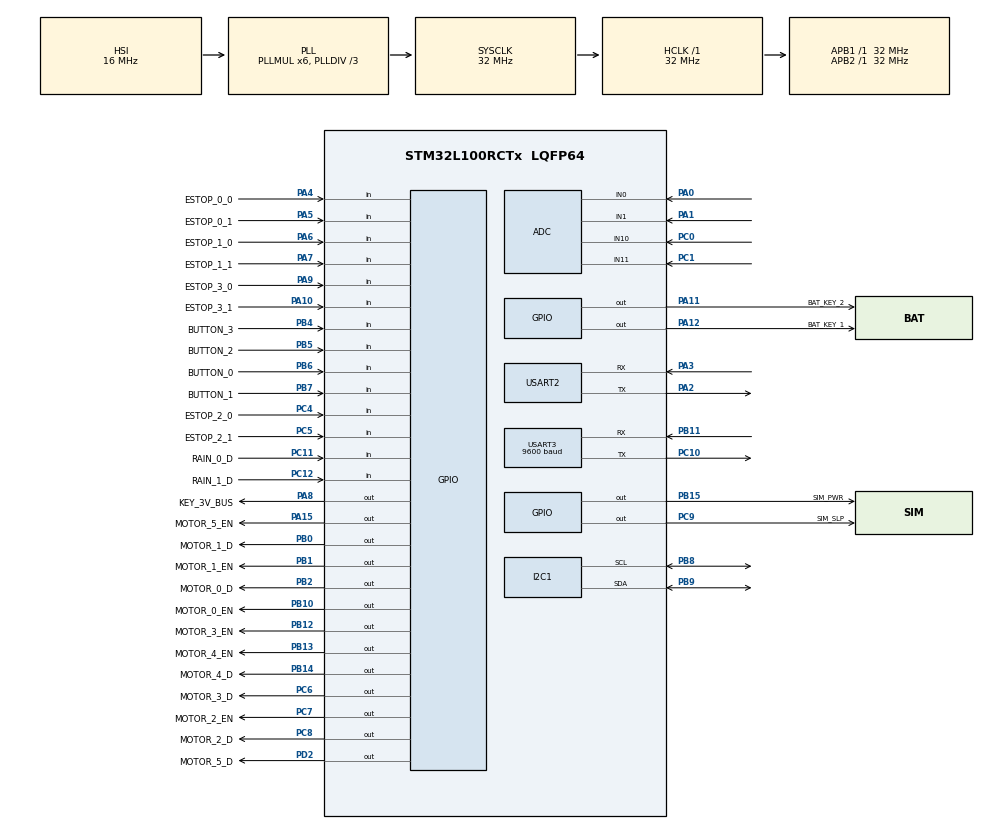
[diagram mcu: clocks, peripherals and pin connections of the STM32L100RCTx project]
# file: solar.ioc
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ADC.Channel-23\#ChannelRegularConversion=ADC_CHANNEL_1
ADC.Channel-24\#ChannelRegularConversion=ADC_CHANNEL_10
ADC.Channel-25\#ChannelRegularConversion=ADC_CHANNEL_11
ADC.Channel-8\#ChannelRegularConversion=ADC_CHANNEL_0
ADC.ClockPrescaler=ADC_CLOCK_ASYNC_DIV1
ADC.ContinuousConvMode=ENABLE
ADC.DMAContinuousRequests=ENABLE
ADC.DataAlign=ADC_DATAALIGN_RIGHT
ADC.DiscontinuousConvMode=DISABLE
ADC.EOCSelection=ADC_EOC_SINGLE_CONV
ADC.EnableAnalogWatchDog=false
ADC.ExternalTrigConv=ADC_SOFTWARE_START
ADC.InjNumberOfConversion=0
ADC.NbrOfConversion=4
ADC.NbrOfConversionFlag=1
ADC.Rank-23\#ChannelRegularConversion=2
ADC.Rank-24\#ChannelRegularConversion=3
ADC.Rank-25\#ChannelRegularConversion=4
ADC.Rank-8\#ChannelRegularConversion=1
ADC.SamplingTime-23\#ChannelRegularConversion=ADC_SAMPLETIME_192CYCLES
ADC.SamplingTime-24\#ChannelRegularConversion=ADC_SAMPLETIME_192CYCLES
ADC.SamplingTime-25\#ChannelRegularConversion=ADC_SAMPLETIME_192CYCLES
ADC.SamplingTime-8\#ChannelRegularConversion=ADC_SAMPLETIME_192CYCLES
ADC.ScanConvMode=ADC_SCAN_ENABLE
Dma.ADC.0.Direction=DMA_PERIPH_TO_MEMORY
Dma.ADC.0.Instance=DMA1_Channel1
Dma.ADC.0.MemDataAlignment=DMA_MDATAALIGN_HALFWORD
Dma.ADC.0.MemInc=DMA_MINC_ENABLE
Dma.ADC.0.Mode=DMA_NORMAL
Dma.ADC.0.PeriphDataAlignment=DMA_PDATAALIGN_HALFWORD
Dma.ADC.0.PeriphInc=DMA_PINC_DISABLE
Dma.ADC.0.Priority=DMA_PRIORITY_MEDIUM
Dma.Request0=ADC
I2C1.I2C_Mode=I2C_Fast
Mcu.Family=STM32L1
Mcu.Name=STM32L100RCTx
Mcu.Package=LQFP64
NVIC.DMA1_Channel1_IRQn=true\:0\:0\:false\:false\:true\:false\:true
NVIC.PriorityGroup=NVIC_PRIORITYGROUP_4
NVIC.USART2_IRQn=true\:0\:0\:false\:false\:true\:true\:true
NVIC.USART3_IRQn=true\:0\:0\:false\:false\:true\:true\:true
PA0-WKUP1.Mode=IN0
PA0-WKUP1.Signal=ADC_IN0
PA1.Mode=IN1
PA1.Signal=ADC_IN1
PA10.GPIO_Label=ESTOP_3_1
PA10.Signal=GPIO_Input
PA11.GPIO_Label=BAT_KEY_2
PA11.Signal=GPIO_Output
PA12.GPIO_Label=BAT_KEY_1
PA12.Signal=GPIO_Output
PA13.GPIO_Label=SWDIO
PA13.Mode=Serial_Wire
PA13.Signal=SYS_JTMS-SWDIO
PA14.GPIO_Label=SWCLK
PA14.Mode=Serial_Wire
PA14.Signal=SYS_JTCK-SWCLK
PA15.GPIO_Label=MOTOR_5_EN
PA15.Signal=GPIO_Output
PA2.Mode=Asynchronous
PA2.Signal=USART2_TX
PA3.Mode=Asynchronous
PA3.Signal=USART2_RX
PA4.GPIO_Label=ESTOP_0_0
PA4.Signal=GPIO_Input
PA5.GPIO_Label=ESTOP_0_1
PA5.Signal=GPIO_Input
PA6.GPIO_Label=ESTOP_1_0
PA6.Signal=GPIO_Input
PA7.GPIO_Label=ESTOP_1_1
PA7.Signal=GPIO_Input
PA8.GPIO_Label=KEY_3V_BUS
PA8.Signal=GPIO_Output
PA9.GPIO_Label=ESTOP_3_0
PA9.Signal=GPIO_Input
PB0.GPIO_Label=MOTOR_1_D
PB0.GPIO_Speed=GPIO_SPEED_FREQ_LOW
PB0.Signal=GPIO_Output
PB1.GPIO_Label=MOTOR_1_EN
PB1.GPIO_Speed=GPIO_SPEED_FREQ_LOW
PB1.Signal=GPIO_Output
PB10.GPIO_Label=MOTOR_0_EN
PB10.GPIO_PuPd=GPIO_PULLDOWN
PB10.Signal=GPIO_Output
PB11.Mode=Asynchronous
PB11.Signal=USART3_RX
PB12.GPIO_Label=MOTOR_3_EN
PB12.Signal=GPIO_Output
PB13.GPIO_Label=MOTOR_4_EN
PB13.Signal=GPIO_Output
PB14.GPIO_Label=MOTOR_4_D
PB14.Signal=GPIO_Output
PB15.GPIO_Label=SIM_PWR
PB15.Signal=GPIO_Output
PB2.GPIO_Label=MOTOR_0_D
PB2.GPIO_ModeDefaultOutputPP=GPIO_MODE_OUTPUT_PP
PB2.GPIO_PuPd=GPIO_PULLDOWN
PB2.Signal=GPIO_Output
PB3.GPIO_Label=SWO
PB3.Signal=SYS_JTDO-TRACESWO
PB4.GPIO_Label=BUTTON_3
PB4.Signal=GPIO_Input
PB5.GPIO_Label=BUTTON_2
PB5.Signal=GPIO_Input
PB6.GPIO_Label=BUTTON_0
PB6.Signal=GPIO_Input
PB7.GPIO_Label=BUTTON_1
PB7.Signal=GPIO_Input
PB8.GPIO_Speed=GPIO_SPEED_FREQ_VERY_HIGH
PB8.Mode=I2C
PB8.Signal=I2C1_SCL
PB9.Mode=I2C
PB9.Signal=I2C1_SDA
PC0.Mode=IN10
PC0.Signal=ADC_IN10
PC1.Mode=IN11
PC1.Signal=ADC_IN11
PC10.Mode=Asynchronous
PC10.Signal=USART3_TX
PC11.GPIO_Label=RAIN_0_D
PC11.Signal=GPIO_Input
PC12.GPIO_Label=RAIN_1_D
PC12.Signal=GPIO_Input
PC14-OSC32_IN.GPIO_Label=PC14-OSC32_IN
PC14-OSC32_IN.Signal=RCC_OSC32_IN
PC15-OSC32_OUT.GPIO_Label=PC15-OSC32_OUT
PC15-OSC32_OUT.Signal=RCC_OSC32_OUT
PC4.GPIO_Label=ESTOP_2_0
PC4.Signal=GPIO_Input
PC5.GPIO_Label=ESTOP_2_1
PC5.Signal=GPIO_Input
PC6.GPIO_Label=MOTOR_3_D
PC6.Signal=GPIO_Output
PC7.GPIO_Label=MOTOR_2_EN
PC7.Signal=GPIO_Output
PC8.GPIO_Label=MOTOR_2_D
PC8.Signal=GPIO_Output
PC9.GPIO_Label=SIM_SLP
PC9.Signal=GPIO_Output
PD2.GPIO_Label=MOTOR_5_D
PD2.Signal=GPIO_Output
PH0-OSC_IN.GPIO_Label=PH0-OSC_IN
PH0-OSC_IN.Mode=HSE-External-Clock-Source
PH0-OSC_IN.Signal=RCC_OSC_IN
PH1-OSC_OUT.GPIO_Label=PH1-OSC_OUT
PH1-OSC_OUT.Signal=RCC_OSC_OUT
ProjectManager.HeapSize=0x200
ProjectManager.StackSize=0x400
ProjectManager.TargetToolchain=TrueSTUDIO
RCC.48MHZClocksFreq_Value=48000000
RCC.AHBFreq_Value=32000000
RCC.APB1Freq_Value=32000000
RCC.APB1TimFreq_Value=32000000
RCC.APB2Freq_Value=32000000
RCC.APB2TimFreq_Value=32000000
RCC.HCLKFreq_Value=32000000
RCC.HSE_VALUE=8000000
RCC.HSI_VALUE=16000000
RCC.LSE_VALUE=32768
RCC.MSI_VALUE=2097000
RCC.PLLDIV=RCC_PLL_DIV3
RCC.PLLMUL=RCC_PLL_MUL6
RCC.RCC_RTC_Clock_Source_FROM_HSE=RCC_RTCCLKSOURCE_HSE_DIV8
RCC.RTCClockSelection=RCC_RTCCLKSOURCE_LSI
RCC.RTCClockSelectionVirtual=RCC_RTCCLKSOURCE_LSE
RCC.SYSCLKFreq_VALUE=32000000
RCC.SYSCLKSource=RCC_SYSCLKSOURCE_PLLCLK
RCC.USBOutput=48000000
RCC.VCOOutputFreq_Value=96000000
RTC.Date=26
RTC.Format=RTC_FORMAT_BCD
RTC.Hours=16
RTC.Minutes=56
RTC.Month=RTC_MONTH_JUNE
RTC.WeekDay=RTC_WEEKDAY_WEDNESDAY
RTC.Year=19
USART2.VirtualMode=VM_ASYNC
USART2.WordLength=WORDLENGTH_8B
USART3.BaudRate=9600
USART3.VirtualMode=VM_ASYNC
VP_RTC_VS_RTC_Activate.Mode=RTC_Enabled
VP_RTC_VS_RTC_Calendar.Mode=RTC_Calendar
board=32L100CDISCOVERY

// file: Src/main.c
/* USER CODE BEGIN Header */
/**
  ******************************************************************************
  * @file           : main.c
  * @brief          : Main program body
  ******************************************************************************
  * @attention
  *
  * <h2><center>&copy; Copyright (c) 2019 STMicroelectronics.
  * All rights reserved.</center></h2>
  *
  * This software component is licensed by ST under BSD 3-Clause license,
  * the "License"; You may not use this file except in compliance with the
  * License. You may obtain a copy of the License at:
  *                        opensource.org/licenses/BSD-3-Clause
  *
  ******************************************************************************
  */
/* USER CODE END Header */

#include "main.h"
#include "adc.h"
#include "dma.h"
#include "i2c.h"
#include "rtc.h"
#include "usart.h"
#include "gpio.h"

/* USER CODE BEGIN Includes */

#include <string.h>
#include <stdio.h>
#include <stdlib.h>

#include <math.h>

#include "sim7020.h"
#include "bh1750.h"
#include "filter_sred.h"
#include "troykaI2CHub.h"

/* USER CODE END Includes */

/* USER CODE BEGIN PTD */

typedef enum {
	open,
	opened,
	close,
	closed,
	still
} operateCmd;

typedef enum {
	top,
	bottom,
	middle
} mechState;

typedef enum {
	cw,
	ccw,
	stp
} motorCmd;

typedef enum {
	mech_wakeup_cmd,
	mech_sleep_cmd,
	mech_still,
	mech_suntrack_cmd,
	mech_suntrack,
	mech_wakeup,
	mech_sleep,
} relictState;

/* USER CODE END PTD */

/* USER CODE BEGIN PD */

#define VREF 3.20f

#define SUN_ERROR_VERT 10
#define SUN_ERROR_HORZ 10

/* USER CODE END PD */

/* USER CODE BEGIN PV */

uint8_t rx_data[2];
uint8_t rx_buffer[rx_buffer_size];
char buffer[rx_buffer_size];

uint8_t transfer;
uint8_t rx_flag = 0;
uint8_t ok_flag;

_Bool endstop00State;
_Bool endstop01State;
_Bool endstop10State;
_Bool endstop11State;
_Bool endstop20State;
_Bool endstop21State;
_Bool endstop30State;
_Bool endstop31State;

_Bool batKey1State;
_Bool batKey2State;

_Bool chrKey1State;
_Bool chrKey2State;

_Bool key3VBusState;

_Bool dvertCorrect;
_Bool dhorzCorrect;
_Bool refreshState;

_Bool mqttReportState;

_Bool rainSensor0Dv;
_Bool rainSensor1Dv;
double rainSensor0Av;
double rainSensor1Av;

operateCmd farm0 = still;
operateCmd farm1 = still;
operateCmd lift = still;

motorCmd motor0Cmd = stp;
motorCmd motor1Cmd = stp;
motorCmd motor5Cmd = stp;
motorCmd motor2Cmd = stp;
motorCmd motor3Cmd = stp;
motorCmd motor4Cmd = stp;

mechState farm0State = middle;
mechState farm1State = middle;
mechState lift0State = middle;

relictState relict = mech_still;

double vBat0;
double vBat0Percent;
double vDif0;
double vBat1;
double vBat1Percent;
double vDif1;

float ls_tl, ls_tr, ls_bl, ls_br;
int16_t dvert, dhorz;
int16_t avt, avb, avl, avr;

uint16_t ADC_value[4];

uint16_t ADC11, ADC12;
uint16_t ADC13, ADC14;

uint16_t buf_11[COUNT_FILTER], buf_12[COUNT_FILTER];
uint16_t buf_13[COUNT_FILTER], buf_14[COUNT_FILTER];

uint16_t filter_11, filter_12;
uint16_t filter_13, filter_14;

FILTER_REG F11, F12;
FILTER_REG F13, F14;

uint8_t c_hour;
uint8_t c_min;
uint8_t c_sec;

uint8_t c_year;
uint8_t c_month;
uint8_t c_day;
uint8_t c_dow;

/* USER CODE END PV */

void SystemClock_Config(void);
/* USER CODE BEGIN PFP */

void buttonsHandler();

void endstop0Control();
void endstop1Control();
void endstop2Control();

void batKey1Handler();
void batKey2Handler();
void key3VBusHandler();

void mechWakeUpControl();
void mechSleepControl();
void refreshStateControl();
void sunTrackControl();

void endstop00handler();
void endstop01handler();
void endstop10handler();
void endstop11handler();
void endstop20handler();
void endstop21handler();
void endstop30handler();
void endstop31handler();

void motor0Handler();
void motor1Handler();
void motor2Handler();
void motor3Handler();
void motor4Handler();
void motor5Handler();

void leftFarmPositionControl();
void rightFarmPositionControl();

void liftPositionControl();

void calculateVBat0();
void calculateVBat1();

void adcRead();

void readLs();
void resetLs();

void readRain();

void debugPrint0();
void debugPrint1();

void getDateTime();
_Bool RTC_Set(uint8_t year, uint8_t month, uint8_t day,uint8_t hour, uint8_t min, uint8_t sec,uint8_t dow);

void lcdPrintLine0();
void lcdPrintLine1();
void lcdPrintLine2();
void lcdPrintLine3();

void relictMqttReportEstop();
void relictMqttReportMechState();
void relictMqttReportHandler();

uint8_t* createBuffer(size_t size);

/* USER CODE END PFP */

/* USER CODE BEGIN 0 */

uint8_t* createBuffer(size_t size)
{
	uint8_t* _buffer = malloc (sizeof(uint8_t) * size);
	if (_buffer == NULL) exit (1);
	memset(_buffer, 0, sizeof(uint8_t) * size);
	return _buffer;
}

void getDateTime()
{
	RTC_TimeTypeDef time;
	RTC_DateTypeDef date;

	HAL_RTC_GetTime(&hrtc, &time, RTC_FORMAT_BIN);

	c_hour = time.Hours;
	c_min = time.Minutes;
	c_sec = time.Seconds;

	HAL_RTC_GetDate(&hrtc, &date, RTC_FORMAT_BIN);

	c_dow = date.WeekDay;
	c_year = date.Year;
	c_month = date.Month;
	c_day =  date.Date;
}

_Bool RTC_Set(uint8_t year, uint8_t month, uint8_t day, uint8_t hour, uint8_t min, uint8_t sec, uint8_t dow)
{
    HAL_StatusTypeDef res;
    RTC_TimeTypeDef time;
    RTC_DateTypeDef date;

    memset(&time, 0, sizeof(time));
    memset(&date, 0, sizeof(date));

    date.WeekDay = dow;
    date.Year = year;
    date.Month = month;
    date.Date = day;

    res = HAL_RTC_SetDate(&hrtc, &date, RTC_FORMAT_BIN);
    if(res != HAL_OK) {
        return 1;
    }

    time.Hours = hour;
    time.Minutes = min;
    time.Seconds = sec;

    res = HAL_RTC_SetTime(&hrtc, &time, RTC_FORMAT_BIN);
    if(res != HAL_OK) {
        return 1;
    }
    return 0;
}

void batKey1Handler()
{
	if(batKey1State == 1){
		HAL_GPIO_WritePin(GPIOA, BAT_KEY_1_Pin, GPIO_PIN_SET);
	} else if (batKey1State == 0) {
		HAL_GPIO_WritePin(GPIOA, BAT_KEY_1_Pin, GPIO_PIN_RESET);
	}
}

void batKey2Handler()
{
	if(batKey2State == 1){
		HAL_GPIO_WritePin(GPIOA, BAT_KEY_2_Pin, GPIO_PIN_SET);
	} else if (batKey2State == 0) {
		HAL_GPIO_WritePin(GPIOA, BAT_KEY_2_Pin, GPIO_PIN_RESET);
	}
}

void key3VBusHandler()
{
	if(key3VBusState == 1){
		HAL_GPIO_WritePin(GPIOA, KEY_3V_BUS_Pin, GPIO_PIN_SET);
	} else if (key3VBusState == 0) {
		HAL_GPIO_WritePin(GPIOA, KEY_3V_BUS_Pin, GPIO_PIN_RESET);
	}
}

void adcRead()
{
	HAL_ADC_Stop_DMA(&hadc);

	ADC11 = ADC_value[0];
	ADC12 = ADC_value[1];
	ADC13 = ADC_value[2];
	ADC14 = ADC_value[3];

	filter_11 = filter_sred(ADC11, buf_11, &F11);
	filter_12 = filter_sred(ADC12, buf_12, &F12);
	filter_13 = filter_sred(ADC13, buf_13, &F13);
	filter_14 = filter_sred(ADC14, buf_14, &F14);

	HAL_ADC_Start_DMA(&hadc, (uint32_t *)&ADC_value, 4);
}

void readLs()
{
	troykaI2CHub_setBusChannel(0);
	BH1750_ReadLight(&ls_tl);

	troykaI2CHub_setBusChannel(1);
	BH1750_ReadLight(&ls_tr);

	troykaI2CHub_setBusChannel(3);
	BH1750_ReadLight(&ls_bl);

	troykaI2CHub_setBusChannel(4);
	BH1750_ReadLight(&ls_br);

	avt = (ls_tl + ls_tr)/2;
	avb = (ls_bl + ls_br)/2;
	avl = (ls_tl + ls_bl)/2;
	avr = (ls_tr + ls_br)/2;

	dvert = avt - avb;
	dhorz = avl - avr;
}

void readRain()
{
	if (HAL_GPIO_ReadPin (GPIOC, RAIN_0_D_Pin) == GPIO_PIN_RESET) {
		rainSensor0Dv = 1;
	} else if (HAL_GPIO_ReadPin (GPIOC, RAIN_0_D_Pin) == GPIO_PIN_SET) {
		rainSensor0Dv = 0;
	}

	if (HAL_GPIO_ReadPin (GPIOC, RAIN_1_D_Pin) == GPIO_PIN_RESET) {
		rainSensor1Dv = 1;
	} else if (HAL_GPIO_ReadPin (GPIOC, RAIN_1_D_Pin) == GPIO_PIN_SET) {
		rainSensor1Dv = 0;
	}

	rainSensor0Av = VREF / 4095.0 * filter_13;
	rainSensor1Av = VREF / 4095.0 * filter_14;

}

void resetLs()
{
	troykaI2CHub_setBusChannel(0);
	BH1750_Reset();
	troykaI2CHub_setBusChannel(1);
	BH1750_Reset();
	troykaI2CHub_setBusChannel(3);
	BH1750_Reset();
	troykaI2CHub_setBusChannel(4);
	BH1750_Reset();
}

void calculateVBat0()
{
	double r_divider, r1, r2;
	r1 = 1880.0;
	r2 = 2070.0;
	r_divider = r2 / (r1 + r2);

	vBat0 = VREF / 4095.0 * filter_11;
	vBat0 = vBat0 / r_divider;

	if (vBat0 > 3.7f){
		vDif0 = vBat0 - 3.7f;
		vBat0Percent = 100 * vDif0 / 0.5;
	}
}

void calculateVBat1()
{
	double r_divider, r1, r2;
	r1 = 1890.0;
	r2 = 2090.0;
	r_divider = r2 / (r1 + r2);

	vBat1 = VREF / 4095.0 * filter_12;
	vBat1 = vBat1 / r_divider;

	if (vBat1 > 3.7f){
		vDif1 = vBat1 - 3.7f;
		vBat1Percent = 100 * vDif1 / 0.5;
	}
}

void I2C_Scan()
{
    char info[] = "SCANNING I2C BUS\r\n";
    HAL_UART_Transmit(&huart2, (uint8_t*)info, strlen(info), HAL_MAX_DELAY);

    HAL_StatusTypeDef res;
    for(uint16_t i = 0; i < 128; i++) {
        res = HAL_I2C_IsDeviceReady(&hi2c1, i << 1, 1, 10);
        if(res == HAL_OK) {
            char msg[64];
            snprintf(msg, sizeof(msg), "0x%02X ", i);
            HAL_UART_Transmit(&huart2, (uint8_t*)msg, strlen(msg), HAL_MAX_DELAY);
        }
    }
    HAL_UART_Transmit(&huart2, (uint8_t*)"\r\n", 2, HAL_MAX_DELAY);
}

void leftFarmPositionControl()
{
	if (farm0 == open && farm0State == middle) {
		motor0Cmd = cw;
	}
	if (farm0 == open && farm0State == bottom) {
		motor0Cmd = cw;
	}
	if (farm0 == open && farm0State == top) {
		motor0Cmd = stp;
		farm0 = opened;
	}
	if (farm0 == close && farm0State == middle) {
		motor0Cmd = ccw;
	}
	if (farm0 == close && farm0State == top) {
		motor0Cmd = ccw;
	}
	if (farm0 == close && farm0State == bottom) {
		motor0Cmd = stp;
		farm0 = closed;
	}
}

void rightFarmPositionControl()
{
	if (farm1 == open && farm1State == middle) {
		motor1Cmd = cw;
	}
	if (farm1 == open && farm1State == bottom) {
		motor1Cmd = cw;
	}
	if (farm1 == open && farm1State == top) {
		motor1Cmd = stp;
		farm1 = opened;
	}
	if (farm1 == close && farm1State == middle) {
		motor1Cmd = ccw;
	}
	if (farm1 == close && farm1State == top) {
		motor1Cmd = ccw;
	}
	if (farm1 == close && farm1State == bottom) {
		motor1Cmd = stp;
		farm1 = closed;
	}
}

void liftPositionControl()
{
	if (lift == open && lift0State == middle) {
		motor5Cmd = ccw;
	}
	if (lift == open && lift0State == bottom) {
		motor5Cmd = ccw;
	}
	if (lift == open && lift0State == top) {
		motor5Cmd = stp;
		lift = opened;
	}
	if (lift == close && lift0State == middle) {
		motor5Cmd = cw;
	}
	if (lift == close && lift0State == top) {
		motor5Cmd = cw;
	}
	if (lift == close && lift0State == bottom) {
		motor5Cmd = stp;
		lift = closed;
	}
}

//void refreshStateControl()
//{
//	if (endstop30State == 1 && endstop31State == 1){
//		refreshState = 1;
//	} else {
//		refreshState = 0;
//	}
//}

//void sunTrackControl()
//{
//	if(relict == mech_suntrack_cmd){
//		if (refreshState == 0){
//			if (endstop30State == 0){
//				motor3Cmd = ccw;
//				motor4Cmd = ccw;
//			}
//			if (endstop30State == 1){
//				motor3Cmd = stp;
//				motor4Cmd = stp;
//				if(endstop31State == 0){
//					motor2Cmd = cw;
//				}
//				if(endstop31State == 1){
//					motor2Cmd = stp;
//					refreshState = 1;
//				}
//			}
//		}
//
//		if (refreshState == 1){
//			if(dhorz > -SUN_ERROR_HORZ && dhorz < SUN_ERROR_HORZ) {
//				motor2Cmd = stp;
//				dhorzCorrect = 1;
//			}
//			if(dhorz < -SUN_ERROR_HORZ || dhorz > SUN_ERROR_HORZ){
//				dhorzCorrect = 0;
//				motor2Cmd = ccw;
//			}
//			if(dvert > -SUN_ERROR_VERT && dvert < SUN_ERROR_VERT) {
//					motor3Cmd = stp;
//					motor4Cmd = stp;
//					dvertCorrect = 1;
//			}
//			if(dvert < -SUN_ERROR_VERT || dvert > SUN_ERROR_VERT){
//					dvertCorrect = 0;
//					motor3Cmd = cw;
//					motor4Cmd = cw;
//			}
//			if (dvertCorrect == 1 && dhorzCorrect == 1){
//				relict = mech_suntrack;
//			}
//		}
//
//	}
//}
void sunTrackControl() {
  if (relict == mech_suntrack_cmd) {
      if (dhorz > -SUN_ERROR_HORZ && dhorz < SUN_ERROR_HORZ) {
        motor2Cmd = stp;
        dhorzCorrect = 1;
      }
      if (dhorz < -SUN_ERROR_HORZ || dhorz > SUN_ERROR_HORZ) {
        dhorzCorrect = 0;
        if (dhorz > 0) {
          motor2Cmd = cw;
        }
        if (dhorz < 0) {
          motor2Cmd = ccw;
        }
      }

      if (dvert > -SUN_ERROR_VERT && dvert < SUN_ERROR_VERT) {
        motor3Cmd = stp;
        motor4Cmd = stp;
        dvertCorrect = 1;
      }
      if (dvert < -SUN_ERROR_VERT || dvert > SUN_ERROR_VERT) {
        dvertCorrect = 0;
        if (dvert > 0) {
          motor3Cmd = cw;
          motor4Cmd = cw;
        }
        if (dvert < 0) {
          motor3Cmd = ccw;
          motor4Cmd = ccw;
        }
      }
    if (dhorzCorrect == 1 && dvertCorrect == 1){
    	relict = mech_still;
    }
  }
}

void mechWakeUpControl()
{
	if (relict == mech_wakeup_cmd){
		if(lift != opened){
			lift = open;
		}
		if(lift == opened){
			if(farm0 != opened){
				farm0 = open;
			}
			if(farm1 != opened){
				farm1 = open;
			}
			if(farm0 == opened && farm1 == opened){
				relict = mech_wakeup;
			}
		}
	}
}

void mechSleepControl()
{
	if (relict == mech_sleep_cmd){
		if(farm0 != closed ){
			farm0 = close;
		}
		if(farm1 != closed ){
			farm1 = close;
		}
		if(farm0 == closed && farm1 == closed){
			if (endstop30State == 0){
				motor3Cmd = ccw;
				motor4Cmd = ccw;
			}
			if (endstop30State == 1){
				motor3Cmd = stp;
				motor4Cmd = stp;

				if(endstop31State == 0){
					motor2Cmd = cw;
				}
				if(endstop31State == 1){
					motor2Cmd = stp;
					lift = close;
				}
				if(lift == closed){
					relict = mech_sleep;
				}
			}
		}
	}
}

void motor0Handler()
{
	if (motor0Cmd == stp) {
		HAL_GPIO_WritePin(GPIOB, MOTOR_0_EN_Pin, GPIO_PIN_RESET);
	}

	if (motor0Cmd == cw) {
		HAL_GPIO_WritePin(GPIOB, MOTOR_0_EN_Pin,GPIO_PIN_SET);
		HAL_GPIO_WritePin(GPIOB, MOTOR_0_D_Pin, GPIO_PIN_RESET);
	}

	if (motor0Cmd == ccw) {
		HAL_GPIO_WritePin(GPIOB, MOTOR_0_EN_Pin,GPIO_PIN_SET);
		HAL_GPIO_WritePin(GPIOB, MOTOR_0_D_Pin, GPIO_PIN_SET);
	}
}

void motor1Handler()
{
	if (motor1Cmd == stp) {
		HAL_GPIO_WritePin(GPIOB, MOTOR_1_EN_Pin, GPIO_PIN_RESET);
	}

	if (motor1Cmd == cw) {
		HAL_GPIO_WritePin(GPIOB, MOTOR_1_EN_Pin,GPIO_PIN_SET);
		HAL_GPIO_WritePin(GPIOB, MOTOR_1_D_Pin, GPIO_PIN_RESET);
	}

	if (motor1Cmd == ccw) {
		HAL_GPIO_WritePin(GPIOB, MOTOR_1_EN_Pin,GPIO_PIN_SET);
		HAL_GPIO_WritePin(GPIOB, MOTOR_1_D_Pin, GPIO_PIN_SET);
	}
}

void motor2Handler()
{
	if (motor2Cmd == stp) {
		HAL_GPIO_WritePin(GPIOC, MOTOR_2_EN_Pin, GPIO_PIN_RESET);
	}

	if (motor2Cmd == cw) {
		HAL_GPIO_WritePin(GPIOC, MOTOR_2_EN_Pin,GPIO_PIN_SET);
		HAL_GPIO_WritePin(GPIOC, MOTOR_2_D_Pin, GPIO_PIN_RESET);
	}

	if (motor2Cmd == ccw) {
		HAL_GPIO_WritePin(GPIOC, MOTOR_2_EN_Pin,GPIO_PIN_SET);
		HAL_GPIO_WritePin(GPIOC, MOTOR_2_D_Pin, GPIO_PIN_SET);
	}
}

void motor3Handler()
{
	if (motor3Cmd == stp) {
		HAL_GPIO_WritePin(GPIOB, MOTOR_3_EN_Pin, GPIO_PIN_RESET);
	}

	if (motor3Cmd == cw) {
		HAL_GPIO_WritePin(GPIOB, MOTOR_3_EN_Pin,GPIO_PIN_SET);
		HAL_GPIO_WritePin(GPIOC, MOTOR_3_D_Pin, GPIO_PIN_RESET);
	}

	if (motor3Cmd == ccw) {
		HAL_GPIO_WritePin(GPIOB, MOTOR_3_EN_Pin,GPIO_PIN_SET);
		HAL_GPIO_WritePin(GPIOC, MOTOR_3_D_Pin, GPIO_PIN_SET);
	}
}

void motor4Handler()
{
	if (motor4Cmd == stp) {
		HAL_GPIO_WritePin(GPIOB, MOTOR_4_EN_Pin, GPIO_PIN_RESET);
	}

	if (motor4Cmd == cw) {
		HAL_GPIO_WritePin(GPIOB, MOTOR_4_EN_Pin,GPIO_PIN_SET);
		HAL_GPIO_WritePin(GPIOB, MOTOR_4_D_Pin, GPIO_PIN_RESET);
	}

	if (motor4Cmd == ccw) {
		HAL_GPIO_WritePin(GPIOB, MOTOR_4_EN_Pin,GPIO_PIN_SET);
		HAL_GPIO_WritePin(GPIOB, MOTOR_4_D_Pin, GPIO_PIN_SET);
	}
}

void motor5Handler()
{
	if (motor5Cmd == stp) {
		HAL_GPIO_WritePin(GPIOA, MOTOR_5_EN_Pin, GPIO_PIN_RESET);
	}

	if (motor5Cmd == cw) {
		HAL_GPIO_WritePin(GPIOA, MOTOR_5_EN_Pin,GPIO_PIN_SET);
		HAL_GPIO_WritePin(GPIOD, MOTOR_5_D_Pin, GPIO_PIN_RESET);
	}

	if (motor5Cmd == ccw) {
		HAL_GPIO_WritePin(GPIOA, MOTOR_5_EN_Pin,GPIO_PIN_SET);
		HAL_GPIO_WritePin(GPIOD, MOTOR_5_D_Pin, GPIO_PIN_SET);
	}
}

void endstop0Control()
{
	if (endstop00State == 0 && endstop01State == 0) {
		farm0State = middle;
	}
	if (endstop00State == 1 && endstop01State == 0) {
		farm0State = top;
	}
	if (endstop00State == 0 && endstop01State == 1) {
		farm0State = bottom;
	}
}

void endstop1Control()
{
	if (endstop10State == 0 && endstop11State == 0) {
		farm1State = middle;
	}
	if (endstop10State == 1 && endstop11State == 0) {
		farm1State = top;
	}
	if (endstop10State == 0 && endstop11State == 1) {
		farm1State = bottom;
	}
}

void endstop2Control()
{
	if (endstop20State == 0 && endstop21State == 0) {
		lift0State = middle;
	}
	if (endstop20State == 1 && endstop21State == 0) {
		lift0State = top;
	}
	if (endstop20State == 0 && endstop21State == 1) {
		lift0State = bottom;
	}
}

void endstop00Handler()
{
	if (HAL_GPIO_ReadPin (GPIOA, ESTOP_0_0_Pin) == GPIO_PIN_RESET) {
		endstop00State = 0;
	} else if (HAL_GPIO_ReadPin (GPIOA, ESTOP_0_0_Pin) == GPIO_PIN_SET) {
		endstop00State = 1;
	}
}

void endstop01Handler()
{
	if (HAL_GPIO_ReadPin (GPIOA, ESTOP_0_1_Pin) == GPIO_PIN_RESET) {
		endstop01State = 0;
	} else if (HAL_GPIO_ReadPin (GPIOA, ESTOP_0_1_Pin) == GPIO_PIN_SET) {
		endstop01State = 1;
	}
}

void endstop10Handler()
{
	if (HAL_GPIO_ReadPin (GPIOA, ESTOP_1_0_Pin) == GPIO_PIN_RESET) {
		endstop10State = 0;
	} else if (HAL_GPIO_ReadPin (GPIOA, ESTOP_1_0_Pin) == GPIO_PIN_SET) {
		endstop10State = 1;
	}
}

void endstop11Handler()
{
	if (HAL_GPIO_ReadPin (GPIOA, ESTOP_1_1_Pin) == GPIO_PIN_RESET) {
		endstop11State = 0;
	} else if (HAL_GPIO_ReadPin (GPIOA, ESTOP_1_1_Pin) == GPIO_PIN_SET) {
		endstop11State = 1;
	}
}

void endstop20Handler()
{
	if (HAL_GPIO_ReadPin (GPIOC, ESTOP_2_1_Pin) == GPIO_PIN_RESET) {
		endstop20State = 0;
	} else if (HAL_GPIO_ReadPin (GPIOC, ESTOP_2_1_Pin) == GPIO_PIN_SET) {
		endstop20State = 1;
	}
}

void endstop21Handler()
{
	if (HAL_GPIO_ReadPin (GPIOC, ESTOP_2_0_Pin) == GPIO_PIN_RESET) {
		endstop21State = 0;
	} else if (HAL_GPIO_ReadPin (GPIOC, ESTOP_2_0_Pin) == GPIO_PIN_SET) {
		endstop21State = 1;
	}
}

void endstop30Handler()
{
	if (HAL_GPIO_ReadPin (GPIOA, ESTOP_3_0_Pin) == GPIO_PIN_RESET) {
		endstop30State = 0;
	} else if (HAL_GPIO_ReadPin (GPIOA, ESTOP_3_0_Pin) == GPIO_PIN_SET) {
		endstop30State = 1;
	}
}

void endstop31Handler()
{
	if (HAL_GPIO_ReadPin (GPIOA, ESTOP_3_1_Pin) == GPIO_PIN_RESET) {
		endstop31State = 0;
	} else if (HAL_GPIO_ReadPin (GPIOA, ESTOP_3_1_Pin) == GPIO_PIN_SET) {
		endstop31State = 1;
	}
}

void debugPrint0()
{
    char dateMsg[64];
    snprintf(dateMsg, sizeof(dateMsg), "%d.%d.%d-%d", c_day, c_month, c_year, c_dow);
    HAL_UART_Transmit(&huart2, (uint8_t*)dateMsg, strlen(dateMsg),HAL_MAX_DELAY);
    HAL_UART_Transmit(&huart2, (uint8_t*)"-", 1, HAL_MAX_DELAY);

	char timeMsg[64];
	snprintf(timeMsg, sizeof(timeMsg), "%d:%d:%d", c_hour, c_min, c_sec);
	HAL_UART_Transmit(&huart2, (uint8_t*)timeMsg, strlen(timeMsg),HAL_MAX_DELAY);
	HAL_UART_Transmit(&huart2, (uint8_t*)"	", 1, HAL_MAX_DELAY);

	char val0[7];
	int tmpInt01 = vBat0;
	float tmpFrac0 = vBat0 - tmpInt01;
	int tmpInt02 = trunc(tmpFrac0 * 100);
	sprintf (val0,"%01d.%02d", tmpInt01, tmpInt02);

	HAL_UART_Transmit(&huart2, (uint8_t*)val0, strlen(val0), HAL_MAX_DELAY);
	HAL_UART_Transmit(&huart2, (uint8_t*)"	", 1, HAL_MAX_DELAY);

	char val1[7];
	int tmpInt11 = vBat0Percent;
	float tmpFrac1 = vBat0Percent - tmpInt11;
	int tmpInt12 = trunc(tmpFrac1 * 100);
	sprintf (val1,"%02d.%02d", tmpInt11, tmpInt12);

	HAL_UART_Transmit(&huart2, (uint8_t*)val1, strlen(val1), HAL_MAX_DELAY);
	HAL_UART_Transmit(&huart2, (uint8_t*)"	", 1, HAL_MAX_DELAY);

	char val2[7];
	int tmpInt21 = vBat1;
	float tmpFrac2 = vBat1 - tmpInt21;
	int tmpInt22 = trunc(tmpFrac2 * 100);
	sprintf (val2,"%01d.%02d", tmpInt21, tmpInt22);

	HAL_UART_Transmit(&huart2, (uint8_t*)val2, strlen(val2), HAL_MAX_DELAY);
	HAL_UART_Transmit(&huart2, (uint8_t*)"	", 1, HAL_MAX_DELAY);

	char val3[7];
	int tmpInt31 = vBat1Percent;
	float tmpFrac3 = vBat1Percent - tmpInt31;
	int tmpInt32 = trunc(tmpFrac3 * 100);
	sprintf (val3,"%02d.%02d", tmpInt31, tmpInt32);

	HAL_UART_Transmit(&huart2, (uint8_t*)val3, strlen(val3), HAL_MAX_DELAY);
	HAL_UART_Transmit(&huart2, (uint8_t*)"	", 2, HAL_MAX_DELAY);

	char val4[7];
	sprintf (val4, "%d", (int16_t)ls_tl);

	char val5[7];
	sprintf (val5, "%d", (int16_t)ls_tr);

	char val6[7];
	sprintf (val6, "%d", (int16_t)ls_bl);

	char val7[7];
	sprintf (val7, "%d", (int16_t)ls_br);

    HAL_UART_Transmit(&huart2, (uint8_t*)val4, strlen(val4), HAL_MAX_DELAY);
	HAL_UART_Transmit(&huart2, (uint8_t*)"	", 1, HAL_MAX_DELAY);

	HAL_UART_Transmit(&huart2, (uint8_t*)val5, strlen(val5), HAL_MAX_DELAY);
	HAL_UART_Transmit(&huart2, (uint8_t*)"	", 1, HAL_MAX_DELAY);

	HAL_UART_Transmit(&huart2, (uint8_t*)val6, strlen(val6), HAL_MAX_DELAY);
	HAL_UART_Transmit(&huart2, (uint8_t*)"	", 1, HAL_MAX_DELAY);

	HAL_UART_Transmit(&huart2, (uint8_t*)val7, strlen(val7), HAL_MAX_DELAY);
	HAL_UART_Transmit(&huart2, (uint8_t*)"	", 3, HAL_MAX_DELAY);

	char val8[7];
	sprintf (val8, "%d", dvert);
	char val9[7];
	sprintf (val9, "%d", dhorz);

	HAL_UART_Transmit(&huart2, (uint8_t*)val8, strlen(val8), HAL_MAX_DELAY);
	HAL_UART_Transmit(&huart2, (uint8_t*)"	", 1, HAL_MAX_DELAY);

	HAL_UART_Transmit(&huart2, (uint8_t*)val9, strlen(val9), HAL_MAX_DELAY);
	HAL_UART_Transmit(&huart2, (uint8_t*)"	", 1, HAL_MAX_DELAY);

	char val10[7];
	sprintf (val10, "%d", rainSensor0Dv);
	char val11[7];
	int tmpInt111 = rainSensor0Av;
	float tmpFrac11 = rainSensor0Av - tmpInt111;
	int tmpInt112 = trunc(tmpFrac11 * 100);
	sprintf (val11,"%01d.%02d", tmpInt111, tmpInt112);

	char val12[7];
	sprintf (val12, "%d", rainSensor1Dv);

	char val13[7];
	int tmpInt131 = rainSensor1Av;
	float tmpFrac13 = rainSensor1Av - tmpInt131;
	int tmpInt132 = trunc(tmpFrac13 * 100);
	sprintf (val13,"%01d.%02d", tmpInt131, tmpInt132);

	HAL_UART_Transmit(&huart2, (uint8_t*)val10, strlen(val10), HAL_MAX_DELAY);
	HAL_UART_Transmit(&huart2, (uint8_t*)"	", 1, HAL_MAX_DELAY);

	HAL_UART_Transmit(&huart2, (uint8_t*)val11, strlen(val11), HAL_MAX_DELAY);
	HAL_UART_Transmit(&huart2, (uint8_t*)"	", 1, HAL_MAX_DELAY);

	HAL_UART_Transmit(&huart2, (uint8_t*)val12, strlen(val12), HAL_MAX_DELAY);
	HAL_UART_Transmit(&huart2, (uint8_t*)"	", 1, HAL_MAX_DELAY);

	HAL_UART_Transmit(&huart2, (uint8_t*)val13, strlen(val13), HAL_MAX_DELAY);
	HAL_UART_Transmit(&huart2, (uint8_t*)"	", 1, HAL_MAX_DELAY);

    HAL_UART_Transmit(&huart2, (uint8_t*)"\r\n", 2, HAL_MAX_DELAY);
}

void debugPrint1()
{
    char estop[64];
    snprintf(estop, sizeof(estop), "left_farm: %d %d | right_farm: %d %d | lift: %d %d | rotate: %d %d",
    		(uint8_t)endstop00State,
			(uint8_t)endstop01State,
			(uint8_t)endstop10State,
			(uint8_t)endstop11State,
			(uint8_t)endstop20State,
			(uint8_t)endstop21State,
			(uint8_t)endstop30State,
			(uint8_t)endstop31State);
    HAL_UART_Transmit(&huart2, (uint8_t*)estop, strlen(estop), HAL_MAX_DELAY);

    HAL_UART_Transmit(&huart2, (uint8_t*)"	MECH STATE: ", 13, HAL_MAX_DELAY);

    char line0[100];
    char* val0;
	char* val1;
	char* val01;

	if (farm0State == middle) {
		val0 = "middle";
	}
	if (farm0State == top) {
		val0 = "top";
	}
	if (farm0State == bottom) {
		val0 = "bottom";
	}
	if (farm1State == middle) {
		val1 = "middle";
	}
	if (farm1State == top) {
		val1 = "top";
	}
	if (farm1State == bottom) {
		val1 = "bottom";
	}
	if (lift0State == middle) {
		val01 = "middle";
	}
	if (lift0State == top) {
		val01 = "top";
	}
	if (lift0State == bottom) {
		val01 = "bottom";
	}

	char* par0 = "l_f_s: ";
	char* par1 = "r_f_s: ";
	char* par01 = "lft_s: ";

	char* space0 = " ";

	strcpy(line0,par0);
	strcat(line0,val0);
	strcat(line0,space0);

	strcat(line0,par1);
	strcat(line0,val1);
	strcat(line0,space0);

	strcat(line0,par01);
	strcat(line0,val01);
	strcat(line0,space0);

    HAL_UART_Transmit(&huart2, (uint8_t*)line0, strlen(line0),HAL_MAX_DELAY);
    HAL_UART_Transmit(&huart2, (uint8_t*)"	OPERATE STATE: ", 16, HAL_MAX_DELAY);

    char line1[100];
    char* val21;
    char* val22;
	char* val3;
	char* val4;

	if (farm0 == open) {
		val21 = "open";
	}
	if (farm0 == close) {
		val21 = "close";
	}
	if (farm0 == still) {
		val21 = "still";
	}
	if (farm0 == opened) {
		val21 = "opened";
	}
	if (farm0 == closed) {
		val21 = "closed";
	}

	if (farm1 == open) {
		val22 = "open";
	}
	if (farm1 == close) {
		val22 = "close";
	}
	if (farm1 == still) {
		val22 = "still";
	}
	if (farm1 == opened) {
		val22 = "opened";
	}
	if (farm1 == closed) {
		val22 = "closed";
	}

	if (lift == open) {
		val3 = "open";
	}
	if (lift == close) {
		val3 = "close";
	}
	if (lift == still) {
		val3 = "still";
	}
	if (lift == opened) {
		val3 = "opened";
	}
	if (lift == closed) {
		val3 = "closed";
	}

	if (relict == mech_wakeup) {
		val4 = "mech_wakeup";
	}
	if (relict == mech_sleep) {
		val4 = "mech_sleep";
	}
	if (relict == mech_wakeup_cmd) {
		val4 = "mech_wakeup_cmd";
	}
	if (relict == mech_sleep_cmd) {
		val4 = "mech_sleep_cmd";
	}
	if (relict == mech_suntrack) {
		val4 = "mech_suntrack";
	}
	if (relict == mech_suntrack_cmd) {
		val4 = " mech_suntrack_cmd";
	}
	if (relict == mech_still) {
		val4 = "mech_still";
	}

	char* par4 = "| relict: ";
	char* par21 = "| f0: ";
	char* par22 = "| f1: ";
	char* par3 = "|  l_s:  ";

	strcpy(line1,par21);
	strcat(line1,val21);
	strcat(line1,space0);
	strcat(line1,par22);
	strcat(line1,val22);
	strcat(line1,space0);
	strcat(line1,par3);
	strcat(line1,val3);
	strcat(line1,space0);
	strcat(line1,par4);
	strcat(line1,val4);
	strcat(line1,space0);

    HAL_UART_Transmit(&huart2, (uint8_t*)line1, strlen(line1),HAL_MAX_DELAY);
    HAL_UART_Transmit(&huart2, (uint8_t*)"\r\n", 2, HAL_MAX_DELAY);
}

void buttonsHandler()
{
	if (HAL_GPIO_ReadPin (GPIOB, BUTTON_0_Pin) == GPIO_PIN_RESET) {
		relict = mech_suntrack_cmd;
		//motor2Cmd = ccw;
	}
	if (HAL_GPIO_ReadPin (GPIOB, BUTTON_1_Pin) == GPIO_PIN_RESET) {
		motor2Cmd = cw;
		//motor4Cmd = cw;
	}
	if (HAL_GPIO_ReadPin (GPIOB, BUTTON_2_Pin) == GPIO_PIN_RESET) {
		relict = mech_wakeup_cmd;
	}
	if (HAL_GPIO_ReadPin (GPIOB, BUTTON_3_Pin) == GPIO_PIN_RESET) {
		relict = mech_sleep_cmd;
	}
}

void relictMqttReportEstop()
{

	HAL_UART_Transmit(&huart2, (uint8_t*)"REPORT ESTP STATE", 17, HAL_MAX_DELAY);
	HAL_UART_Transmit(&huart2, (uint8_t*)"\r\n", 2, HAL_MAX_DELAY);

	char NBcmqpub_at_msg[8][100];
	char NBcmqpub_val[8][3];

	snprintf(NBcmqpub_val[0], 3, "%d",(uint8_t)endstop10State + 30);
	snprintf(NBcmqpub_val[1], 3, "%d",(uint8_t)endstop11State + 30);
	snprintf(NBcmqpub_val[2], 3, "%d",(uint8_t)endstop00State + 30);
	snprintf(NBcmqpub_val[3], 3, "%d",(uint8_t)endstop01State + 30);
	snprintf(NBcmqpub_val[4], 3, "%d",(uint8_t)endstop20State + 30);
	snprintf(NBcmqpub_val[5], 3, "%d",(uint8_t)endstop21State + 30);
	snprintf(NBcmqpub_val[6], 3, "%d",(uint8_t)endstop30State + 30);
	snprintf(NBcmqpub_val[7], 3, "%d",(uint8_t)endstop31State + 30);

	char* atStringWrapper = "\"";
	char* NBcmqpub_cmd = "AT+CMQPUB=0,";
	char* NBcmqpub_par_0 = ",1,0,0,2,";

	const char* NBcmqpub_feed[8] = {"Gabbapeople/feeds/relict-estop-state.right-farm-0",
	   					  	  	  	"Gabbapeople/feeds/relict-estop-state.right-farm-1",
									"Gabbapeople/feeds/relict-estop-state.left-farm-0",
									"Gabbapeople/feeds/relict-estop-state.left-farm-1",
									"Gabbapeople/feeds/relict-estop-state.lift-0",
									"Gabbapeople/feeds/relict-estop-state.lift-1",
									"Gabbapeople/feeds/relict-estop-state.rotate-0",
									"Gabbapeople/feeds/relict-estop-state.rotate-1"
	    							};

	for(uint8_t i = 0; i < 8; i++){
	    strcpy(NBcmqpub_at_msg[i], NBcmqpub_cmd);
		strcat(NBcmqpub_at_msg[i], atStringWrapper);
		strcat(NBcmqpub_at_msg[i], NBcmqpub_feed[i]);
		strcat(NBcmqpub_at_msg[i], atStringWrapper);
		strcat(NBcmqpub_at_msg[i], NBcmqpub_par_0);
		strcat(NBcmqpub_at_msg[i], atStringWrapper);
		strcat(NBcmqpub_at_msg[i], NBcmqpub_val[i]);
		strcat(NBcmqpub_at_msg[i], atStringWrapper);

	    HAL_UART_Transmit(&huart2, (uint8_t*)NBcmqpub_at_msg[i], strlen(NBcmqpub_at_msg[i]),HAL_MAX_DELAY);
	    HAL_UART_Transmit(&huart2, (uint8_t*)"\r\n", 2, HAL_MAX_DELAY);

		const char* NBcmqpub[] = {
				NBcmqpub_at_msg[i],
				"\0"
		};

		sim7020_NBcmqpub(NBcmqpub);

	}

}

void relictMqttReportMechState()
{

	HAL_UART_Transmit(&huart2, (uint8_t*)"REPORT MECH STATE", 17, HAL_MAX_DELAY);
	HAL_UART_Transmit(&huart2, (uint8_t*)"\r\n", 2, HAL_MAX_DELAY);

	char NBcmqpub_at_msg[3][100];
	char NBcmqpub_val[3][13];

	char* atStringWrapper = "\"";
	char* NBcmqpub_cmd = "AT+CMQPUB=0,";
	char* NBcmqpub_par_0 = ",1,0,0,12,";

	char* str_open = "6f70656e2020";
	char* str_close = "636c6f736520";
	char* str_still = "7374696c6c20";
	char* str_opened = "6f70656e6564";
	char* str_closed = "636c6f736564";

	const char* NBcmqpub_feed[3] = {"Gabbapeople/feeds/relict-mech-state.right-farm-state",
	   					  	  	  	"Gabbapeople/feeds/relict-mech-state.left-farm-state",
									"Gabbapeople/feeds/relict-mech-state.lift-state"
	    							};

	HAL_UART_Transmit(&huart2, (uint8_t*)"!!!!!!!!!!!1", 12, HAL_MAX_DELAY);
	HAL_UART_Transmit(&huart2, (uint8_t*)"\r\n", 2, HAL_MAX_DELAY);

	if (farm0 == open) {
		strcpy(NBcmqpub_val[0],str_open);
	}
	if (farm0 == close) {
		strcpy(NBcmqpub_val[0],str_close);
	}
	if (farm0 == still) {
		strcpy(NBcmqpub_val[0],str_still);
	}
	if (farm0 == opened) {
		strcpy(NBcmqpub_val[0],str_opened);
	}
	if (farm0 == closed) {
		strcpy(NBcmqpub_val[0],str_closed);
	}

	if (farm1 == open) {
		strcpy(NBcmqpub_val[1],str_open);
	}
	if (farm1 == close) {
		strcpy(NBcmqpub_val[1],str_close);
	}
	if (farm1 == still) {
		strcpy(NBcmqpub_val[1],str_still);
	}
	if (farm1 == opened) {
		strcpy(NBcmqpub_val[1],str_opened);
	}
	if (farm1 == closed) {
		strcpy(NBcmqpub_val[1],str_closed);
	}

	if (lift == open) {
		strcpy(NBcmqpub_val[2],str_open);
	}
	if (lift == close) {
		strcpy(NBcmqpub_val[2],str_close);
	}
	if (lift == still) {
		strcpy(NBcmqpub_val[2],str_still);
	}
	if (lift == opened) {
		strcpy(NBcmqpub_val[2],str_opened);
	}
	if (lift == closed) {
		strcpy(NBcmqpub_val[2],str_closed);
	}

	HAL_UART_Transmit(&huart2, (uint8_t*)"!!!!!!!!!!!2", 12, HAL_MAX_DELAY);
	HAL_UART_Transmit(&huart2, (uint8_t*)"\r\n", 2, HAL_MAX_DELAY);

	for(uint8_t i = 0; i < 3; i++){

		HAL_UART_Transmit(&huart2, (uint8_t*)"!!!!!!!!!!!3", 12, HAL_MAX_DELAY);
		HAL_UART_Transmit(&huart2, (uint8_t*)"\r\n", 2, HAL_MAX_DELAY);

		strcpy(NBcmqpub_at_msg[i], NBcmqpub_cmd);
		strcat(NBcmqpub_at_msg[i], atStringWrapper);
		strcat(NBcmqpub_at_msg[i], NBcmqpub_feed[i]);
		strcat(NBcmqpub_at_msg[i], atStringWrapper);
		strcat(NBcmqpub_at_msg[i], NBcmqpub_par_0);
		strcat(NBcmqpub_at_msg[i], atStringWrapper);
		strcat(NBcmqpub_at_msg[i], NBcmqpub_val[i]);
		strcat(NBcmqpub_at_msg[i], atStringWrapper);

	    HAL_UART_Transmit(&huart2, (uint8_t*)NBcmqpub_at_msg[i], strlen(NBcmqpub_at_msg[i]),HAL_MAX_DELAY);
	    HAL_UART_Transmit(&huart2, (uint8_t*)"\r\n", 2, HAL_MAX_DELAY);

		const char* NBcmqpub[] = {
				NBcmqpub_at_msg[i],
				"\0"
		};

		sim7020_NBcmqpub(NBcmqpub);

	}

}

void relictMqttReportHandler()
{
	if (mqttReportState == 1){

		//sim7020_NBmaxfun();
		generateRandomClientID();
		sim7020_NBcmqnewUntillConnect(100);
		sim7020_NBcmqcon();
		//relictMqttReportEstop();
		relictMqttReportMechState();
		sim7020_NBcmqdiscon();
		mqttReportState = 0;
		//sim7020_NBminfun();

	}

}

/* USER CODE END 0 */

int main(void)
{
  /* USER CODE BEGIN 1 */

  F11.Val = 0;
  F12.Val = 0;
  F13.Val = 0;
  F14.Val = 0;

  /* USER CODE END 1 */

  /* MCU Configuration--------------------------------------------------------*/

  /* Reset of all peripherals, Initializes the Flash interface and the Systick. */
  HAL_Init();

  /* Configure the system clock */
  SystemClock_Config();

  /* Initialize all configured peripherals */
  MX_GPIO_Init();
  MX_DMA_Init();
  MX_ADC_Init();
  MX_I2C1_Init();
  MX_USART2_UART_Init();
  MX_RTC_Init();
  MX_USART3_UART_Init();
  /* USER CODE BEGIN 2 */

  batKey1State = 1;
  batKey2State = 1;
  key3VBusState = 1;

  mqttReportState = 0;

  batKey1Handler();
  batKey2Handler();
  key3VBusHandler();

  HAL_Delay(2000);

  RTC_Set(19, 6, 26, 18, 7, 0, 3);

  /* USER CODE END 2 */

  /* Infinite loop */
  /* USER CODE BEGIN WHILE */
  I2C_Scan();

  troykaI2CHub_init(&hi2c1);
  troykaI2CHub_setBusChannel(0);

  BH1750_Init(&hi2c1);
  BH1750_PowerState(1);
  BH1750_SetMode(CONTINUOUS_HIGH_RES_MODE_2);

  troykaI2CHub_setBusChannel(1);
  BH1750_PowerState(1);
  BH1750_SetMode(CONTINUOUS_HIGH_RES_MODE_2);

  troykaI2CHub_setBusChannel(3);
  BH1750_PowerState(1);
  BH1750_SetMode(CONTINUOUS_HIGH_RES_MODE_2);

  troykaI2CHub_setBusChannel(4);
  BH1750_PowerState(1);
  BH1750_SetMode(CONTINUOUS_HIGH_RES_MODE_2);

  HAL_Delay(2000);
  HAL_ADC_Start_DMA(&hadc, (uint32_t*)&ADC_value, 2);

//  sim7020_init(&huart3, &huart2);
//  sim7020_dtr(0);
//  sim7020_powerCycle();
//
//
//  sim7020_hardwareInfo();
//  sim7020_NBcsq();
//  //sim7020_NBmaxfun();
//  sim7020_NBcpin();

//  HAL_Delay(5000);
//
//  sim7020_NBcopsUntillConnect(255);

  //sim7020_NBminfun();

  while (1)
  {

    /* USER CODE END WHILE */

    /* USER CODE BEGIN 3 */

	  relictMqttReportHandler();

	  getDateTime();

	  batKey1Handler();
	  batKey2Handler();
	  key3VBusHandler();

	  adcRead();
	  calculateVBat0();
	  calculateVBat1();
	  readLs();
	  readRain();

	  buttonsHandler();

	  endstop00Handler();
	  endstop01Handler();
	  endstop10Handler();
	  endstop11Handler();
	  endstop20Handler();
	  endstop21Handler();
	  endstop30Handler();
	  endstop31Handler();

	  endstop0Control();
	  endstop1Control();
	  endstop2Control();

	  leftFarmPositionControl();
	  rightFarmPositionControl();
	  liftPositionControl();

	  mechWakeUpControl();
	  mechSleepControl();

	  //refreshStateControl();
	  sunTrackControl();

	  motor0Handler();
	  motor1Handler();
	  motor2Handler();
	  motor3Handler();
	  motor4Handler();
	  motor5Handler();

	 //debugPrint0();
	 debugPrint1();

  }

  /* USER CODE END 3 */
}

void SystemClock_Config(void)
{
  RCC_OscInitTypeDef RCC_OscInitStruct = {0};
  RCC_ClkInitTypeDef RCC_ClkInitStruct = {0};
  RCC_PeriphCLKInitTypeDef PeriphClkInit = {0};

  /** Configure the main internal regulator output voltage
  */
  __HAL_PWR_VOLTAGESCALING_CONFIG(PWR_REGULATOR_VOLTAGE_SCALE1);
  /** Initializes the CPU, AHB and APB busses clocks
  */
  RCC_OscInitStruct.OscillatorType = RCC_OSCILLATORTYPE_HSI|RCC_OSCILLATORTYPE_LSI;
  RCC_OscInitStruct.HSIState = RCC_HSI_ON;
  RCC_OscInitStruct.HSICalibrationValue = RCC_HSICALIBRATION_DEFAULT;
  RCC_OscInitStruct.LSIState = RCC_LSI_ON;
  RCC_OscInitStruct.PLL.PLLState = RCC_PLL_ON;
  RCC_OscInitStruct.PLL.PLLSource = RCC_PLLSOURCE_HSI;
  RCC_OscInitStruct.PLL.PLLMUL = RCC_PLL_MUL6;
  RCC_OscInitStruct.PLL.PLLDIV = RCC_PLL_DIV3;
  if (HAL_RCC_OscConfig(&RCC_OscInitStruct) != HAL_OK)
  {
    Error_Handler();
  }
  /** Initializes the CPU, AHB and APB busses clocks
  */
  RCC_ClkInitStruct.ClockType = RCC_CLOCKTYPE_HCLK|RCC_CLOCKTYPE_SYSCLK
                              |RCC_CLOCKTYPE_PCLK1|RCC_CLOCKTYPE_PCLK2;
  RCC_ClkInitStruct.SYSCLKSource = RCC_SYSCLKSOURCE_PLLCLK;
  RCC_ClkInitStruct.AHBCLKDivider = RCC_SYSCLK_DIV1;
  RCC_ClkInitStruct.APB1CLKDivider = RCC_HCLK_DIV1;
  RCC_ClkInitStruct.APB2CLKDivider = RCC_HCLK_DIV1;

  if (HAL_RCC_ClockConfig(&RCC_ClkInitStruct, FLASH_LATENCY_1) != HAL_OK)
  {
    Error_Handler();
  }
  PeriphClkInit.PeriphClockSelection = RCC_PERIPHCLK_RTC;
  PeriphClkInit.RTCClockSelection = RCC_RTCCLKSOURCE_LSI;
  if (HAL_RCCEx_PeriphCLKConfig(&PeriphClkInit) != HAL_OK)
  {
    Error_Handler();
  }
}

/* USER CODE BEGIN 4 */

//void HAL_UART_TxCpltCallback(UART_HandleTypeDef *huart)
//{
////	const char info[] = "TX OVER \r\n";
////	HAL_UART_Transmit(&huart2, (uint8_t*)info, strlen(info), HAL_MAX_DELAY);
//}
//
//void HAL_UART_RxHalfCpltCallback(UART_HandleTypeDef *huart)
//{
////	const char info[] = "RX HALF BUFF \r\n";
////	HAL_UART_Transmit(&huart2, (uint8_t*)info, strlen(info), HAL_MAX_DELAY);
//}

void HAL_UART_RxCpltCallback(UART_HandleTypeDef *huart)
{
	    uint8_t i;
	    if (huart->Instance == USART3) {

	        if (rx_flag == 0) {
	            for (i = 0; i < 100; i++)
	                rx_buffer[i] = 0;
	        }

	        if (rx_flag > rx_buffer_size){
	            rx_flag = 0;
	        }

	        rx_buffer[rx_flag++] = rx_data[0];

	        if (rx_buffer[rx_flag - 4] == 79 && rx_buffer[rx_flag - 3] == 75){
	        	ok_flag = 1;
	            rx_flag = 0;
	            transfer = 1;
	        }

	        if (transfer) {
	            sprintf(buffer, "%s", rx_buffer);
	            HAL_UART_Transmit(&huart2, (uint8_t*)buffer, sizeof(buffer), 1000);

	            transfer = 0;
	        }
	        HAL_UART_Receive_IT(&huart3, rx_data, 1);
	    }
}

////  if (huart->Instance == USART3)
////  {
//	buffer[buffer_counter++] = byte;
//    HAL_UART_Receive_IT(&huart3, &byte, 1);
// // }

/* USER CODE END 4 */

void Error_Handler(void)
{
}

/************************ (C) COPYRIGHT STMicroelectronics *****END OF FILE****/
